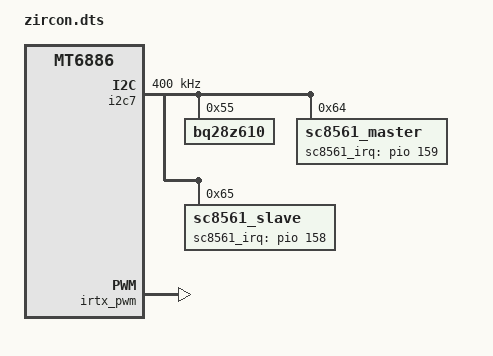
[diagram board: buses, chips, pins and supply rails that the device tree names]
#include "mediatek/zircon-mt6886.dtsi"
#include <zircon/cust.dtsi>
#include <mediatek/xiaomi_zircon_mt6886_fingerprint.dtsi>
#include <dt-bindings/gpio/gpio.h>

&i2c7 {
	clock-frequency = <400000>;
	status = "okay";

	bq28z610@55 {
		compatible = "bq28z610";
		reg = <0x55>;
		max_chg_power_120w;
		enable_shutdown_delay;
		normal_shutdown_vbat_1s = <3400>;
		critical_shutdown_vbat_1s = <3280>;
		report_full_rsoc_1s = <9500>;
		soc_gap_1s = <2>;
		soc_decimal_rate = <
			0  38
			10 35
			20 33
			30 33
			40 33
			50 33
			60 33
			70 30
			80 25
			90 20
			95 10 >;
	};

	sc8561_master@64 {
		compatible = "sc8561_master";
		reg = <0x64>;
		sc8561_irq_gpio = <&pio 159 0x0>;
	};
	sc8561_slave@65 {
		compatible = "sc8561_slave";
		reg = <0x65>;
		sc8561_irq_gpio = <&pio 158 0x0>;
	};
};

&i2c6 {
	gate_ic: gate_ic@11 {
		compatible = "mediatek,gate-ic-i2c";
		gate-power-gpios = <&pio 148 0>;
		reg = <0x11>;
		id = <6>;
		status = "disabled";
	};
};

&irtx_pwm {
	pwm_ch = <3>;
	pinctrl-names = "irtx_gpio_led_default", "irtx_gpio_led_set";
	pinctrl-0 = <&irtx_gpio_led_default>;
	pinctrl-1 = <&irtx_gpio_led_set>;
	status = "okay";
};

&pio {
	/* IRTX GPIO Settings -Start */
	/* default: GPIO0, output, high */
	irtx_gpio_led_default:irtx_gpio_led_def@gpio148 {
		pins_cmd_dat {
			pinmux = <PINMUX_GPIO148__FUNC_GPIO148>;
			slew-rate = <1>;
			bias-disable;
			output-low;
			input-schmitt-enable = <0>;
		};
	};
	irtx_gpio_led_set:irtx_gpio_led_set@gpio148 {
		pins_cmd_dat {
			pinmux = <PINMUX_GPIO148__FUNC_PWM_3>;
			slew-rate = <1>;
			output-high;
		};
	};
};

&charger {
	max_charge_power = <120>;
	max_charger_voltage = <12000000>;
	fv = <4470>;
	fv_ffc = <4520>;
	/* charging current */
	usb_charger_current = <500000>;
	ac_charger_current = <1500000>;
	ac_charger_input_current = <1500000>;
	charging_host_charger_current = <1500000>;
	ffc_low_tbat = <150>;
	ffc_high_tbat = <480>;
	ffc_medium_tbat = <350>;
	ffc_high_soc = <95>;
	step_fallback_hyst = <25>;
	step_forward_hyst = <5>;
	jeita_fallback_hyst = <10>;
	jeita_forward_hyst = <10>;
	mt6373_moscon1_control;
	sic_support;
	enable_vbat_mon=<0>;
	slave_connect_check_gpio = <&pio 187 GPIO_ACTIVE_LOW>;

	min_charge_temp = <(-10)>;
	min_charge_temp_plus_x_degree = <(-10)>;
	max_charge_temp = <60>;
	max_charge_temp_minus_x_degree = <58>;

	jeita_fcc_cfg = <(-100)	0	4200	1464	732
			1	50	4470	2440	2440
			51	100	4470	4780	4780
			101	150	4470	7230	7230
			151	350	4150	22000	22000
			351	400	4150	22000	22000
			401	470	4150	22000	22000
			471	600	4100	4780	4780>;
	jeita_fv_cfg = <(-100)	0	4470
			1	50	4470
			51	100	4470
			101	150	4470
			151	350	4520
			351	400	4520
			401	470	4520
			471	600	4100>;
	step_chg_cfg_low_cycle = <3000	3595	21700
				3596	4150	21700
				4151	4250	15800
				4251	4450	14500
				4451	4520	9600>;
	step_chg_cfg_middle_cycle = <3000	3595	21700
				3596	4120	21700
				4121	4220	15800
				4221	4450	14500
				4451	4500	9600>;
	step_chg_cfg_high_cycle = <3000	3595	17300
				3596	4120	17300
				4121	4220	12600
				4221	4430	11560
				4431	4480	7640>;

	jeita_iterm_cfg = <(-100)	0	410	410
			1	50	410	410
			51	100	410	410
			101	150	410	410
			151	350	410	3283
			351	400	410	3773
			401	470	410	5978
			471	600	410	410>;
	jeita_iterm_cfg_second_supplier = <(-100)	0	410	410
		1	50	410	410
		51	100	410	410
		101	150	410	410
		151	350	410	2548
		351	400	410	3038
		401	470	410	3871
		471	600	410	410>;

	thermal_limit_dcp = <1600 1600 1600 1600 1600 1600 1600 1600 1600 1600 1600 1600 1500 1400 1200 1000>;
	thermal_limit_qc2 = <2500 2500 2500 2500 2500 2500 2500 2500 2500 2500 2500 2000 1500 1500 1000 500>;
	thermal_limit_qc3_18w = <2500 2500 2500 2500 2500 2500 2400 2300 2200 2100 1500 1000 800 700 600 500>;
	thermal_limit_qc3_27w = <2500 2500 2500 2500 2500 2500 2400 2300 2200 2100 1500 1000 800 700 600 500>;
	thermal_limit_qc35 = <2500 2500 2500 2500 2500 2500 2400 2300 2200 2100 1500 1000 800 700 600 500>;
	thermal_limit_pd = <22000 16000 12000 9000 8000 7000 6000 5000 4000 3500 3000 2400 2000 1500 1200 1000>;
	smart_chg_lowfast_increment = <4000 10000 12000 14000 12000 12000 8000 7000 5000 3000 2000 1500 1000 0 0 0>;
};

&mtk_gauge {
	DISABLE_MTKBATTERY = <(1)>;
};

&lk_charger {
	usb_charger_current = <500000>;
	ac_charger_current = <1500000>;
	ac_charger_input_current = <2000000>;
	non_std_ac_charger_current = <500000>;
	charging_host_charger_current = <1500000>;
	ta_ac_charger_current = <1500000>;
	pd_charger_current = <1500000>;
	temp_t4_threshold = <60>;
	temp_t3_threshold = <45>;
	pre_charger_current = <340000>;
	fast_charge_voltage = <3200000>;
};

&pd_cp_manager {
	compatible = "pd_cp_manager";
	fv = <4465>;
	fv_ffc = <4515>;
	max_fcc = <22000>;
	max_vbus = <20000>;
	max_ibus = <6200>;
	fcc_low_hyst = <220>;
	fcc_high_hyst = <0>;
	low_tbat = <100>;
	high_tbat = <480>;
	high_vbat = <4400>;
	high_soc = <95>;
	low_fcc = <2000>;
	cv_vbat = <4450>;
	cv_vbat_ffc = <4490>;
	cv_ibat = <2000>;
	vbus_low_gap = <800>;
	vbus_high_gap = <1000>;
	ibus_gap = <100>;
	min_pdo_vbus = <8000>;
	max_pdo_vbus = <20000>;
	mt6375_control_gpio = <&pio 149 GPIO_ACTIVE_LOW>;
	support_4_1;
};

&mtee_svp {
	mtee: MTEE {
		compatible = "mediatek,mtk_svp_on_mtee_support";
	};

	svp: SecureVideoPath {
		compatible = "mediatek,mtk_sec_video_path_support";
	};
};

#include "mediatek/cust_mt6886_nfc_nxp.dtsi"
#include "mediatek/zircon_mt6886_camera_v4l2.dtsi"
#include "mediatek/zircon_mt6886_touch.dtsi"
